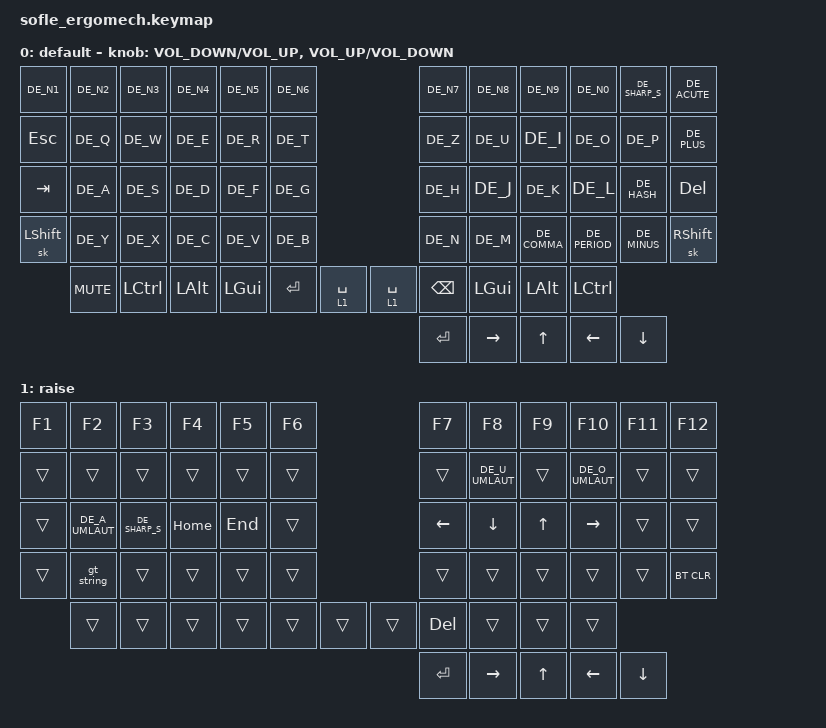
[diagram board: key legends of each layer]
/*
 * Copyright (c) 2020 The ZMK Contributors
 *
 * SPDX-License-Identifier: MIT
 */

#include <behaviors.dtsi>
#include <dt-bindings/zmk/bt.h>
#include <dt-bindings/zmk/ext_power.h>
#include <dt-bindings/zmk/keys.h>
#include <dt-bindings/zmk/rgb.h>
#include "keys_de.h"

#define BASE 0
#define RAISE 1

/ {
    custom_strings {
        gt_string: gt_string {
            compatible = "zmk,string";
            label = "GT";
            string = ">";
        };
    };
    keymap {
        compatible = "zmk,keymap";

        default_layer {
            label = "default";
            // ------------------------------------------------------------------------------------------------------------
            // |   1   |  2  |  3  |  4   |  5   |  6   |                   |  7   |  8    |  9    |  0   |   ß   | ´     |
            // |  ESC  |  Q  |  W  |  E   |  R   |  T   |                   |  Z   |  U    |  I    |  O   |   P   | +     |
            // |  TAB  |  A  |  S  |  D   |  F   |  G   |                   |  H   |  J    |  K    |  L   |   #   | DEL   |
            // | SHIFT |  Y  |  X  |  C   |  V   |  B   |        |  | MUTE  |  N   |  M    |  ,    |  .   |   -   | SHIFT |
            //               | CTRL | OPT  | CMD | ENTER|  SPACE |  | SPACE | BSPC | CMD   | OPT   | CTRL |

            bindings = <
            &kp DE_N1 &kp DE_N2  &kp DE_N3 &kp DE_N4 &kp DE_N5 &kp DE_N6                         &kp DE_N7 &kp DE_N8 &kp DE_N9    &kp DE_N0     &kp DE_SHARP_S &kp DE_ACUTE
            &kp ESC   &kp DE_Q   &kp DE_W  &kp DE_E  &kp DE_R  &kp DE_T                          &kp DE_Z  &kp DE_U  &kp DE_I     &kp DE_O      &kp DE_P       &kp DE_PLUS
            &kp TAB   &kp DE_A   &kp DE_S  &kp DE_D  &kp DE_F  &kp DE_G                          &kp DE_H  &kp DE_J  &kp DE_K     &kp DE_L      &kp DE_HASH    &kp DEL
            &sk LSHFT &kp DE_Y   &kp DE_X  &kp DE_C  &kp DE_V  &kp DE_B                          &kp DE_N  &kp DE_M  &kp DE_COMMA &kp DE_PERIOD &kp DE_MINUS   &sk RSHFT
                      &kp C_MUTE &kp LCTRL &kp LALT  &kp LGUI  &kp RET   &lt 1 SPACE &lt 1 SPACE &kp BSPC  &kp LGUI  &kp LALT     &kp LCTRL
                                                                                                 &kp ENTER &kp RIGHT &kp UP_ARROW &kp LEFT      &kp DOWN
            >;

            sensor-bindings =
                <&inc_dec_kp C_VOLUME_DOWN C_VOLUME_UP &inc_dec_kp C_VOLUME_UP C_VOLUME_DOWN>;
        };

        raise_layer {
            label = "raise";
            // ------------------------------------------------------------------------------------------------------------
            // |   F1  |  F2 |  F3 |  F4  |  F5  |  F6  |                   |  F7  |  F8   |  F9   |  F10 |   F11 | F12   |
            // |       |     |     |      |      |      |                   |      |  Ü    |       |  Ö   |       |       |
            // |       |  Ä  | ß   | HOME | END  |      |                   | LEFT | DOWN  |   UP  | RIGHT|       |       |
            // |       | ><  |     |      |      |      |        |  |       |      |       |       |      |       |BT CLR |
            //               |     |      |      |      |        |  |       | DEL  |       |       |      |
            bindings = <
            &kp F1  &kp F2              &kp F3          &kp F4    &kp F5  &kp F6                    &kp F7    &kp F8           &kp F9       &kp F10          &kp F11  &kp F12
            &trans  &trans              &trans          &trans    &trans  &trans                    &trans    &kp DE_U_UMLAUT  &trans       &kp DE_O_UMLAUT  &trans   &trans
            &trans  &kp DE_A_UMLAUT     &kp DE_SHARP_S  &kp HOME  &kp END &trans                    &kp LEFT  &kp DOWN         &kp UP       &kp RIGHT        &trans   &trans
            &trans  &gt_string          &trans          &trans    &trans  &trans                    &trans    &trans           &trans       &trans           &trans   &bt BT_CLR
                    &trans              &trans          &trans    &trans  &trans  &trans    &trans  &kp DEL   &trans           &trans       &trans
                                                                                                    &kp ENTER &kp RIGHT        &kp UP_ARROW &kp LEFT      &kp DOWN
            >;

        };

    };
};
